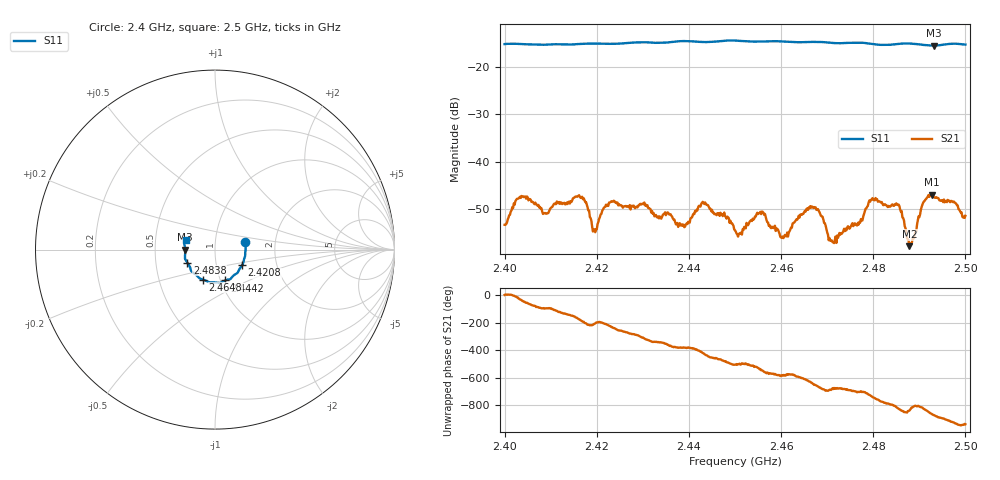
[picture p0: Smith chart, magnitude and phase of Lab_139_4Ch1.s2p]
# Hz S RI R 50
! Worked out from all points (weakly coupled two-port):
!   601 points, 2.4 GHz to 2.5 GHz, reference 50 ohm
!   highest |S21| = -46.94 dB at 2.4927 GHz (marker M1); lowest = -57.8 dB at 2.4878 GHz (marker M2)
!   lowest |S11| = -15.6 dB at 2.4932 GHz (marker M3), VSWR 1.40, Z = 35.8 - j0.0701 ohm
!   |S11| at or under -10 dB: start of sweep to end of sweep
!   S12 and S22 are empty: the file has one direction only
!   S11 on the Smith chart (normalised r, x): 2.4 GHz: 1.40, +0.12; 2.4208 GHz: 1.33, -0.24; 2.4442 GHz: 1.05, -0.37; 2.4648 GHz: 0.83, -0.29; 2.4838 GHz: 0.73, -0.11; 2.5 GHz: 0.72, +0.08
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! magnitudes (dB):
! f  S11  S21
! 2.4 GHz  -15.3  -53.3
! 2.4035 GHz  -15.3  -47.7
! 2.4088 GHz  -15.4  -50.8
! 2.4167 GHz  -15.2  -47.5
! 2.4195 GHz  -15.2  -54.3
! 2.4208 GHz  -15.2  -51.1
! 2.4333 GHz  -15.0  -51.5
! 2.4442 GHz  -14.9  -49.2
! 2.45 GHz  -14.5  -54.4
! 2.4557 GHz  -14.8  -51.1
! 2.4607 GHz  -14.8  -55.8
! 2.4648 GHz  -14.9  -51.0
! 2.4667 GHz  -14.8  -49.4
! 2.4712 GHz  -15.0  -56.9
! 2.4795 GHz  -15.2  -48.1
! 2.4833 GHz  -15.4  -49.3
! 2.4838 GHz  -15.4  -49.3
! 2.4857 GHz  -15.2  -49.3
! 2.4878 GHz  -15.2  -57.8
! 2.4927 GHz  -15.6  -46.9
! 2.4932 GHz  -15.6  -47.5
! 2.5 GHz  -15.4  -51.4
